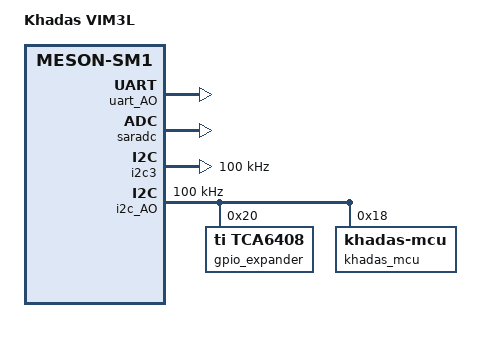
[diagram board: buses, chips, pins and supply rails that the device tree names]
// SPDX-License-Identifier: (GPL-2.0+ OR MIT)
/*
 * Khadas VIM3L (S905D3 / SM1)
 *
 * Derived from meson-sm1-s905d3-ac200.dts. This device tree is only used by
 * u-boot's driver model (pinctrl, mmc, i2c, ...); the kernel device tree is
 * loaded at runtime from the "dtb" partition, not from here.
 */

/dts-v1/;

#include "meson-sm1-s905d3-ac200.dtsi"
#include "meson-g12a_skt-panel.dtsi"

/ {
	compatible = "khadas,vim3l", "amlogic,s905d3", "amlogic,meson-sm1";
	model = "Khadas VIM3L";
};

/* Brought out to the 40-pin GPIO header */
&uart_AO {
	status = "okay";
};

&saradc {
	status = "okay";
};

/*
 * i2c3 on GPIOA_14/GPIOA_15, alias i2c3. The vendor kernel leaves this
 * disabled, but u-boot needs it: the touch controller of the TS050/TS101
 * panels (0x38 / 0x5d), the M2X extension board's codec (0x10) and the MIPI
 * camera (0x0c) all live here, and "kbi check_panel"/"check_m2x" read them.
 * The 2015 bootloader bit-banged these two pins by hand for the same purpose.
 */
&i2c3 {
	status = "okay";
	clock-frequency = <100000>;
	pinctrl-names = "default";
	pinctrl-0 = <&i2c3_master_pins2>;
};

/*
 * AO i2c, alias i2c4 (see the aliases node in meson-sm1-s905d3-ac200.dtsi).
 * Carries the KBI MCU at 0x18 and the TCA6408 GPIO expander at 0x20 - see
 * &i2c_AO in the vendor kernel's kvim3l.dts. Without this the "kbi" command
 * and tca6408_gpio_init() fail with -ENODEV.
 */
&i2c_AO {
	status = "okay";
	clock-frequency = <100000>;
	pinctrl-names = "default";
	pinctrl-0 = <&ao_i2c_master_pins1>;

	gpio_expander: gpio-controller@20 {
		compatible = "ti,tca6408";
		reg = <0x20>;
		gpio-controller;
		#gpio-cells = <2>;
	};

	khadas_mcu: khadas-mcu@18 {
		compatible = "khadas-mcu";
		reg = <0x18>;
	};
};

&pinctrl_periphs {
	bl_pwm_off_pins:bl_pwm_off_pin {
		mux {
			groups = "GPIOH_5";
			function = "gpio_periphs";
			output-high;
		};
	};
}; /* end of pinctrl_periphs */
